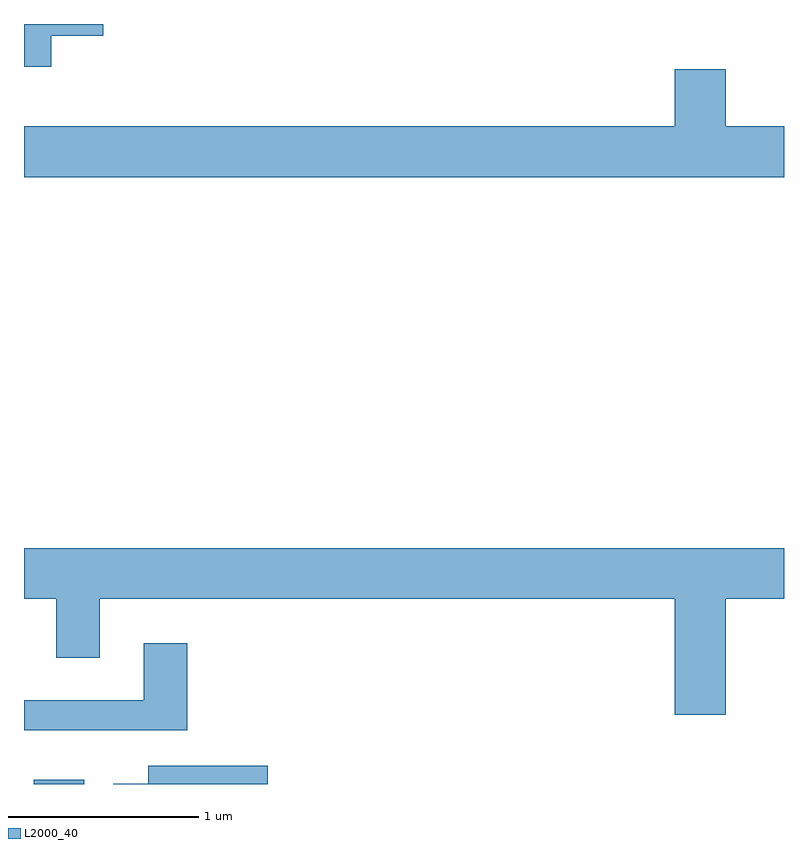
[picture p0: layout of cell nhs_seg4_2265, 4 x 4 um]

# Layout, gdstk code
import gdstk
lib = gdstk.Library(unit=1e-6, precision=1e-09)
def R(c, l, rs):  # rectangles x0, y0, x1, y1
    for r in rs: c.add(gdstk.rectangle(r[:2], r[2:], *l))
def P(c, l, *ps):  # polygons
    for p in ps: c.add(gdstk.Polygon(p, *l))
L2000_40 = (2000, 40)

nhs_seg4_2265 = lib.new_cell('nhs_seg4_2265')
R(nhs_seg4_2265, L2000_40, [(251.661,1295.982,251.929,1296.004)])
P(nhs_seg4_2265, L2000_40, [(251.754,1299.921),(252.029,1299.921),(252.029,1299.982),(251.611,1299.982),(251.611,1299.756),(251.754,1299.756)],
  [(255.611,1299.444),(255.304,1299.444),(255.304,1299.744),(255.036,1299.744),(255.036,1299.444),(251.611,1299.444),(251.611,1299.176),(255.611,1299.176)],
  [(255.304,1296.956),(255.611,1296.956),(255.611,1297.224),(251.611,1297.224),(251.611,1296.956),(251.781,1296.956),(251.781,1296.646),(252.009,1296.646),(252.009,1296.956),(255.036,1296.956),(255.036,1296.346),(255.304,1296.346)],
  [(252.469,1296.724),(252.241,1296.724),(252.241,1296.424),(251.611,1296.424),(251.611,1296.266),(252.469,1296.266)],
  [(252.894,1296.079),(252.266,1296.079),(252.266,1295.984),(252.081,1295.984),(252.081,1295.982),(252.894,1295.982)])

lib.write_gds('nhs_seg4_2265.gds')
